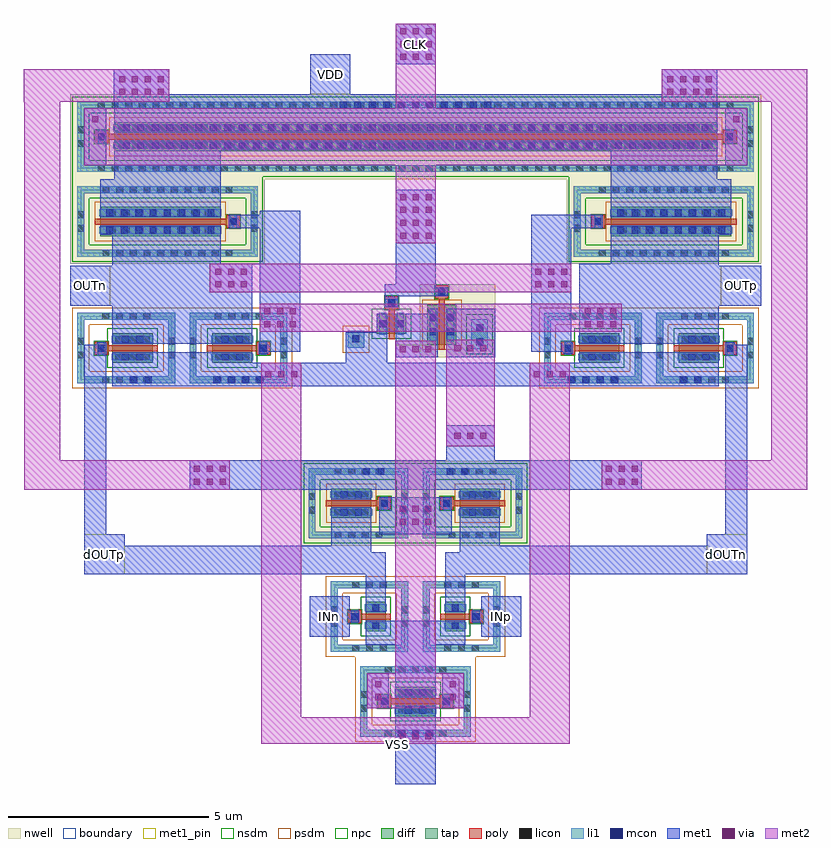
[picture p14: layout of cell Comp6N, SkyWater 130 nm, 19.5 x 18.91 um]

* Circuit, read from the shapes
.subckt Comp6N CLK INn INp OUTn OUTp VDD VSS dOUTn dOUTp
XM1 OUTn dOUTp VSS VSS sky130_fd_pr__nfet_01v8 w=1 l=0.15
XM2 OUTn OUTp VSS VSS sky130_fd_pr__nfet_01v8 w=1 l=0.15
XM3 dOUTp INn n1 VSS sky130_fd_pr__nfet_01v8 w=0.5 l=0.15
XM4 Inv2-1_5/Out CLK VSS VSS sky130_fd_pr__nfet_01v8 w=0.5 l=0.15
XM5 n1 Inv2-1_5/Out VSS VSS sky130_fd_pr__nfet_01v8 w=1 l=0.15
XM6 dOUTn INp n1 VSS sky130_fd_pr__nfet_01v8 w=0.5 l=0.15
XM7 OUTp OUTn VSS VSS sky130_fd_pr__nfet_01v8 w=1 l=0.15
XM8 OUTp dOUTn VSS VSS sky130_fd_pr__nfet_01v8 w=1 l=0.15
XM9 n2 OUTp OUTn VDD sky130_fd_pr__pfet_01v8 w=3 l=0.15
XM10 VDD CLK n2 VDD sky130_fd_pr__pfet_01v8 w=15 l=0.15
XM11 VDD Inv2-1_5/Out dOUTp VDD sky130_fd_pr__pfet_01v8 w=1 l=0.15
XM12 VDD CLK Inv2-1_5/Out VDD sky130_fd_pr__pfet_01v8 w=1 l=0.15
XM13 VDD Inv2-1_5/Out dOUTn VDD sky130_fd_pr__pfet_01v8 w=1 l=0.15
XM14 n2 OUTn OUTp VDD sky130_fd_pr__pfet_01v8 w=3 l=0.15
.ends

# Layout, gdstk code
from math import pi, radians
import gdstk
lib = gdstk.Library(unit=1e-6, precision=1e-09)
def R(c, l, rs):  # rectangles x0, y0, x1, y1
    for r in rs: c.add(gdstk.rectangle(r[:2], r[2:], *l))
def A(c, l, x, y, w, h, nx, ny, dx, dy):  # array of equal rectangles
    R(c, l, [(x+i*dx, y+j*dy, x+i*dx+w, y+j*dy+h) for i in range(nx) for j in range(ny)])
nwell = (64, 20)
diff = (65, 20)
tap = (65, 44)
poly = (66, 20)
licon = (66, 44)
li1 = (67, 20)
mcon = (67, 44)
met1_pin = (68, 16)
met1 = (68, 20)
via = (68, 44)
met2 = (69, 20)
nsdm = (93, 44)
psdm = (94, 20)
npc = (95, 20)
boundary = (235, 4)

sky130_fd_pr__nfet_01v8_ = lib.new_cell('sky130_fd_pr__nfet_01v8_SYFC5S')
R(sky130_fd_pr__nfet_01v8_, diff, [(-0.365,-0.405,0.365,0.095)])
R(sky130_fd_pr__nfet_01v8_, tap, [(-0.875,-0.965,0.875,-0.795), (-0.875,-0.795,-0.705,0.795), (0.705,-0.795,0.875,0.795), (-0.875,0.795,0.875,0.965)])
R(sky130_fd_pr__nfet_01v8_, poly, [(-0.075,-0.535,0.075,0.205), (-0.165,0.205,0.165,0.535)])
A(sky130_fd_pr__nfet_01v8_, licon, -0.875, -0.425, 0.17, 0.17, 1, 3, 0, 0.34)
A(sky130_fd_pr__nfet_01v8_, licon, 0.705, -0.425, 0.17, 0.17, 1, 3, 0, 0.34)
R(sky130_fd_pr__nfet_01v8_, licon, [(-0.255,-0.965,-0.085,-0.795), (0.085,-0.965,0.255,-0.795), (-0.305,-0.24,-0.135,-0.07), (0.135,-0.24,0.305,-0.07), (-0.085,0.285,0.085,0.455), (-0.255,0.795,-0.085,0.965), (0.085,0.795,0.255,0.965)])
R(sky130_fd_pr__nfet_01v8_, li1, [(-0.875,-0.965,0.875,-0.795), (-0.875,-0.795,-0.705,0.795), (0.705,-0.795,0.875,0.795), (-0.305,-0.425,-0.135,0.115), (0.135,-0.425,0.305,0.115), (-0.165,0.285,0.165,0.455), (-0.875,0.795,0.875,0.965)])
R(sky130_fd_pr__nfet_01v8_, mcon, [(-0.305,-0.24,-0.135,-0.07), (0.135,-0.24,0.305,-0.07), (-0.085,0.285,0.085,0.455)])
R(sky130_fd_pr__nfet_01v8_, met1, [(-0.335,-0.405,-0.105,0.095), (0.105,-0.405,0.335,0.095), (-0.145,0.255,0.145,0.485)])
R(sky130_fd_pr__nfet_01v8_, nsdm, [(-0.49,-0.53,0.49,0.22)])
R(sky130_fd_pr__nfet_01v8_, psdm, [(-1,-1.09,1,-0.67), (-1,-0.67,-0.58,0.67), (0.58,-0.67,1,0.67), (-1,0.67,1,1.09)])
R(sky130_fd_pr__nfet_01v8_, npc, [(-0.185,0.185,0.185,0.555)])
R(sky130_fd_pr__nfet_01v8_, boundary, [(-0.79,-0.88,0.79,0.88)])

c_sky130_fd_pr__nfet_01v8_ = lib.new_cell('sky130_fd_pr__nfet_01v8_TGNW9T')
R(c_sky130_fd_pr__nfet_01v8_, diff, [(-0.365,-0.5,0.365,0.5)])
R(c_sky130_fd_pr__nfet_01v8_, tap, [(-0.875,-1.37,0.875,-1.2), (-0.875,-1.2,-0.705,1.2), (0.705,-1.2,0.875,1.2), (-0.875,1.2,0.875,1.37)])
R(c_sky130_fd_pr__nfet_01v8_, poly, [(-0.165,-0.94,0.165,-0.61), (-0.075,-0.61,0.075,0.61), (-0.165,0.61,0.165,0.94)])
A(c_sky130_fd_pr__nfet_01v8_, licon, -0.875, -0.765, 0.17, 0.17, 1, 5, 0, 0.34)
A(c_sky130_fd_pr__nfet_01v8_, licon, 0.705, -0.765, 0.17, 0.17, 1, 5, 0, 0.34)
A(c_sky130_fd_pr__nfet_01v8_, licon, -0.305, -0.425, 0.17, 0.17, 1, 3, 0, 0.34)
A(c_sky130_fd_pr__nfet_01v8_, licon, 0.135, -0.425, 0.17, 0.17, 1, 3, 0, 0.34)
R(c_sky130_fd_pr__nfet_01v8_, licon, [(-0.255,-1.37,-0.085,-1.2), (0.085,-1.37,0.255,-1.2), (-0.085,-0.86,0.085,-0.69), (-0.085,0.69,0.085,0.86), (-0.255,1.2,-0.085,1.37), (0.085,1.2,0.255,1.37)])
R(c_sky130_fd_pr__nfet_01v8_, li1, [(-0.875,-1.37,0.875,-1.2), (-0.875,-1.2,-0.705,1.2), (0.705,-1.2,0.875,1.2), (-0.165,-0.86,0.165,-0.69), (-0.305,-0.52,-0.135,0.52), (0.135,-0.52,0.305,0.52), (-0.165,0.69,0.165,0.86), (-0.875,1.2,0.875,1.37)])
R(c_sky130_fd_pr__nfet_01v8_, mcon, [(-0.085,-0.86,0.085,-0.69), (-0.305,-0.265,-0.135,-0.095), (0.135,-0.265,0.305,-0.095), (-0.305,0.095,-0.135,0.265), (0.135,0.095,0.305,0.265), (-0.085,0.69,0.085,0.86)])
R(c_sky130_fd_pr__nfet_01v8_, met1, [(-0.145,-0.89,0.145,-0.66), (-0.335,-0.5,-0.105,0.5), (0.105,-0.5,0.335,0.5), (-0.145,0.66,0.145,0.89)])
R(c_sky130_fd_pr__nfet_01v8_, nsdm, [(-0.49,-0.625,0.49,0.625)])
R(c_sky130_fd_pr__nfet_01v8_, psdm, [(-1,-1.495,1,-1.075), (-1,-1.075,-0.58,1.075), (0.58,-1.075,1,1.075), (-1,1.075,1,1.495)])
R(c_sky130_fd_pr__nfet_01v8_, npc, [(-0.185,-0.96,0.185,-0.59), (-0.185,0.59,0.185,0.96)])
R(c_sky130_fd_pr__nfet_01v8_, boundary, [(-0.79,-1.285,0.79,1.285)])

sky130_fd_pr__pfet_01v8_ = lib.new_cell('sky130_fd_pr__pfet_01v8_KUW9CL')
R(sky130_fd_pr__pfet_01v8_, nwell, [(-1.055,-1.42,1.055,1.42)])
R(sky130_fd_pr__pfet_01v8_, diff, [(-0.365,-0.68,0.365,0.32)])
R(sky130_fd_pr__pfet_01v8_, tap, [(-0.875,-1.24,0.875,-1.07), (-0.875,-1.07,-0.705,1.07), (0.705,-1.07,0.875,1.07), (-0.875,1.07,0.875,1.24)])
R(sky130_fd_pr__pfet_01v8_, poly, [(-0.075,-0.81,0.075,0.475), (-0.165,0.475,0.165,0.805)])
A(sky130_fd_pr__pfet_01v8_, licon, -0.305, -0.605, 0.17, 0.17, 1, 3, 0, 0.34)
A(sky130_fd_pr__pfet_01v8_, licon, 0.135, -0.605, 0.17, 0.17, 1, 3, 0, 0.34)
A(sky130_fd_pr__pfet_01v8_, licon, -0.875, -0.595, 0.17, 0.17, 1, 4, 0, 0.34)
A(sky130_fd_pr__pfet_01v8_, licon, 0.705, -0.595, 0.17, 0.17, 1, 4, 0, 0.34)
R(sky130_fd_pr__pfet_01v8_, licon, [(-0.255,-1.24,-0.085,-1.07), (0.085,-1.24,0.255,-1.07), (-0.085,0.555,0.085,0.725), (-0.255,1.07,-0.085,1.24), (0.085,1.07,0.255,1.24)])
R(sky130_fd_pr__pfet_01v8_, li1, [(-0.875,-1.24,0.875,-1.07), (-0.875,-1.07,-0.705,1.07), (0.705,-1.07,0.875,1.07), (-0.305,-0.7,-0.135,0.34), (0.135,-0.7,0.305,0.34), (-0.165,0.555,0.165,0.725), (-0.875,1.07,0.875,1.24)])
R(sky130_fd_pr__pfet_01v8_, mcon, [(-0.305,-0.445,-0.135,-0.275), (0.135,-0.445,0.305,-0.275), (-0.305,-0.085,-0.135,0.085), (0.135,-0.085,0.305,0.085), (-0.085,0.555,0.085,0.725)])
R(sky130_fd_pr__pfet_01v8_, met1, [(-0.335,-0.68,-0.105,0.32), (0.105,-0.68,0.335,0.32), (-0.145,0.525,0.145,0.755)])
R(sky130_fd_pr__pfet_01v8_, nsdm, [(-1,-1.365,1,-0.945), (-1,-0.945,-0.58,0.945), (0.58,-0.945,1,0.945), (-1,0.945,1,1.365)])
R(sky130_fd_pr__pfet_01v8_, psdm, [(-0.49,-0.805,0.49,0.445)])
R(sky130_fd_pr__pfet_01v8_, npc, [(-0.185,0.455,0.185,0.825)])
R(sky130_fd_pr__pfet_01v8_, boundary, [(-0.79,-1.155,0.79,1.155)])

c_sky130_fd_pr__pfet_01v8_ = lib.new_cell('sky130_fd_pr__pfet_01v8_F97YLM')
R(c_sky130_fd_pr__pfet_01v8_, nwell, [(-0.545,-0.99,0.545,0.82)])
R(c_sky130_fd_pr__pfet_01v8_, diff, [(-0.365,-0.68,0.365,0.32)])
R(c_sky130_fd_pr__pfet_01v8_, poly, [(-0.075,-0.81,0.075,0.475), (-0.165,0.475,0.165,0.805)])
R(c_sky130_fd_pr__pfet_01v8_, licon, [(-0.305,-0.435,-0.135,-0.265), (0.135,-0.435,0.305,-0.265), (-0.305,-0.095,-0.135,0.075), (0.135,-0.095,0.305,0.075), (-0.085,0.555,0.085,0.725)])
R(c_sky130_fd_pr__pfet_01v8_, li1, [(-0.305,-0.59,-0.135,0.23), (0.135,-0.59,0.305,0.23), (-0.165,0.555,0.165,0.725)])
R(c_sky130_fd_pr__pfet_01v8_, mcon, [(-0.305,-0.445,-0.135,-0.275), (0.135,-0.445,0.305,-0.275), (-0.305,-0.085,-0.135,0.085), (0.135,-0.085,0.305,0.085), (-0.085,0.555,0.085,0.725)])
R(c_sky130_fd_pr__pfet_01v8_, met1, [(-0.335,-0.57,-0.105,0.21), (0.105,-0.57,0.335,0.21), (-0.145,0.525,0.145,0.755)])
R(c_sky130_fd_pr__pfet_01v8_, psdm, [(-0.49,-0.805,0.49,0.445)])
R(c_sky130_fd_pr__pfet_01v8_, npc, [(-0.185,0.455,0.185,0.825)])

c_sky130_fd_pr__nfet_01v8__ = lib.new_cell('sky130_fd_pr__nfet_01v8_8DMXDH')
R(c_sky130_fd_pr__nfet_01v8__, diff, [(-0.365,-0.405,0.365,0.095)])
R(c_sky130_fd_pr__nfet_01v8__, poly, [(-0.075,-0.535,0.075,0.205), (-0.165,0.205,0.165,0.535)])
R(c_sky130_fd_pr__nfet_01v8__, licon, [(-0.305,-0.24,-0.135,-0.07), (0.135,-0.24,0.305,-0.07), (-0.085,0.285,0.085,0.455)])
R(c_sky130_fd_pr__nfet_01v8__, li1, [(-0.305,-0.425,-0.135,0.115), (0.135,-0.425,0.305,0.115), (-0.165,0.285,0.165,0.455)])
R(c_sky130_fd_pr__nfet_01v8__, mcon, [(-0.305,-0.24,-0.135,-0.07), (0.135,-0.24,0.305,-0.07), (-0.085,0.285,0.085,0.455)])
R(c_sky130_fd_pr__nfet_01v8__, met1, [(-0.335,-0.405,-0.105,0.095), (0.105,-0.405,0.335,0.095), (-0.145,0.255,0.145,0.485)])
R(c_sky130_fd_pr__nfet_01v8__, nsdm, [(-0.49,-0.53,0.49,0.22)])
R(c_sky130_fd_pr__nfet_01v8__, npc, [(-0.185,0.185,0.185,0.555)])

inv2_1 = lib.new_cell('Inv2-1')
R(inv2_1, met1_pin, [(2.73,-3.84,3.04,-2.84)])
R(inv2_1, met1, [(1.96,-4.31,2.96,-4.05), (1.23,-4.11,1.8,-3.78), (1.96,-3.84,3.04,-2.95), (1.23,-3.78,1.52,-2.84), (2.06,-2.95,3.04,-2.8), (1.84,-2.59,2.84,-2.15)])
inv2_1.add(gdstk.Reference(c_sky130_fd_pr__pfet_01v8_, (2.05,-2.695), rotation=pi/2))
inv2_1.add(gdstk.Reference(c_sky130_fd_pr__nfet_01v8__, (2.055,-3.945), rotation=pi/2))
inv2_1.add(gdstk.Label('Out', (2.885,-3.34), layer=68, texttype=5))

c_sky130_fd_pr__nfet_01v8___ = lib.new_cell('sky130_fd_pr__nfet_01v8_D5KUY4')
R(c_sky130_fd_pr__nfet_01v8___, diff, [(-0.365,-0.655,0.365,0.345)])
R(c_sky130_fd_pr__nfet_01v8___, tap, [(-0.875,-1.215,0.875,-1.045), (-0.875,-1.045,-0.705,1.045), (0.705,-1.045,0.875,1.045), (-0.875,1.045,0.875,1.215)])
R(c_sky130_fd_pr__nfet_01v8___, poly, [(-0.075,-0.785,0.075,0.455), (-0.165,0.455,0.165,0.785)])
A(c_sky130_fd_pr__nfet_01v8___, licon, -0.875, -0.595, 0.17, 0.17, 1, 4, 0, 0.34)
A(c_sky130_fd_pr__nfet_01v8___, licon, 0.705, -0.595, 0.17, 0.17, 1, 4, 0, 0.34)
A(c_sky130_fd_pr__nfet_01v8___, licon, -0.305, -0.58, 0.17, 0.17, 1, 3, 0, 0.34)
A(c_sky130_fd_pr__nfet_01v8___, licon, 0.135, -0.58, 0.17, 0.17, 1, 3, 0, 0.34)
R(c_sky130_fd_pr__nfet_01v8___, licon, [(-0.255,-1.215,-0.085,-1.045), (0.085,-1.215,0.255,-1.045), (-0.085,0.535,0.085,0.705), (-0.255,1.045,-0.085,1.215), (0.085,1.045,0.255,1.215)])
R(c_sky130_fd_pr__nfet_01v8___, li1, [(-0.875,-1.215,0.875,-1.045), (-0.875,-1.045,-0.705,1.045), (0.705,-1.045,0.875,1.045), (-0.305,-0.675,-0.135,0.365), (0.135,-0.675,0.305,0.365), (-0.165,0.535,0.165,0.705), (-0.875,1.045,0.875,1.215)])
R(c_sky130_fd_pr__nfet_01v8___, mcon, [(-0.305,-0.42,-0.135,-0.25), (0.135,-0.42,0.305,-0.25), (-0.305,-0.06,-0.135,0.11), (0.135,-0.06,0.305,0.11), (-0.085,0.535,0.085,0.705)])
R(c_sky130_fd_pr__nfet_01v8___, met1, [(-0.335,-0.655,-0.105,0.345), (0.105,-0.655,0.335,0.345), (-0.145,0.505,0.145,0.735)])
R(c_sky130_fd_pr__nfet_01v8___, nsdm, [(-0.49,-0.78,0.49,0.47)])
R(c_sky130_fd_pr__nfet_01v8___, psdm, [(-1,-1.34,1,-0.92), (-1,-0.92,-0.58,0.92), (0.58,-0.92,1,0.92), (-1,0.92,1,1.34)])
R(c_sky130_fd_pr__nfet_01v8___, npc, [(-0.185,0.435,0.185,0.805)])
R(c_sky130_fd_pr__nfet_01v8___, boundary, [(-0.79,-1.13,0.79,1.13)])

c_sky130_fd_pr__pfet_01v8__ = lib.new_cell('sky130_fd_pr__pfet_01v8_KCE4QQ')
R(c_sky130_fd_pr__pfet_01v8__, nwell, [(-1.055,-2.42,1.055,2.42)])
R(c_sky130_fd_pr__pfet_01v8__, diff, [(-0.365,-1.68,0.365,1.32)])
R(c_sky130_fd_pr__pfet_01v8__, tap, [(-0.875,-2.24,0.875,-2.07), (-0.875,-2.07,-0.705,2.07), (0.705,-2.07,0.875,2.07), (-0.875,2.07,0.875,2.24)])
R(c_sky130_fd_pr__pfet_01v8__, poly, [(-0.075,-1.81,0.075,1.475), (-0.165,1.475,0.165,1.805)])
A(c_sky130_fd_pr__pfet_01v8__, licon, -0.875, -1.615, 0.17, 0.17, 1, 10, 0, 0.34)
A(c_sky130_fd_pr__pfet_01v8__, licon, 0.705, -1.615, 0.17, 0.17, 1, 10, 0, 0.34)
A(c_sky130_fd_pr__pfet_01v8__, licon, -0.305, -1.455, 0.17, 0.17, 1, 8, 0, 0.34)
A(c_sky130_fd_pr__pfet_01v8__, licon, 0.135, -1.455, 0.17, 0.17, 1, 8, 0, 0.34)
R(c_sky130_fd_pr__pfet_01v8__, licon, [(-0.255,-2.24,-0.085,-2.07), (0.085,-2.24,0.255,-2.07), (-0.085,1.555,0.085,1.725), (-0.255,2.07,-0.085,2.24), (0.085,2.07,0.255,2.24)])
R(c_sky130_fd_pr__pfet_01v8__, li1, [(-0.875,-2.24,0.875,-2.07), (-0.875,-2.07,-0.705,2.07), (0.705,-2.07,0.875,2.07), (-0.305,-1.7,-0.135,1.34), (0.135,-1.7,0.305,1.34), (-0.165,1.555,0.165,1.725), (-0.875,2.07,0.875,2.24)])
A(c_sky130_fd_pr__pfet_01v8__, mcon, -0.305, -1.525, 0.17, 0.17, 1, 8, 0, 0.36)
A(c_sky130_fd_pr__pfet_01v8__, mcon, 0.135, -1.525, 0.17, 0.17, 1, 8, 0, 0.36)
R(c_sky130_fd_pr__pfet_01v8__, mcon, [(-0.085,1.555,0.085,1.725)])
R(c_sky130_fd_pr__pfet_01v8__, met1, [(-0.335,-1.68,-0.105,1.32), (0.105,-1.68,0.335,1.32), (-0.145,1.525,0.145,1.755)])
R(c_sky130_fd_pr__pfet_01v8__, nsdm, [(-1,-2.365,1,-1.945), (-1,-1.945,-0.58,1.945), (0.58,-1.945,1,1.945), (-1,1.945,1,2.365)])
R(c_sky130_fd_pr__pfet_01v8__, psdm, [(-0.49,-1.805,0.49,1.445)])
R(c_sky130_fd_pr__pfet_01v8__, npc, [(-0.185,1.455,0.185,1.825)])
R(c_sky130_fd_pr__pfet_01v8__, boundary, [(-0.79,-2.155,0.79,2.155)])

c_sky130_fd_pr__pfet_01v8___ = lib.new_cell('sky130_fd_pr__pfet_01v8_NM6MTA')
R(c_sky130_fd_pr__pfet_01v8___, nwell, [(-1.055,-8.595,1.055,8.595)])
R(c_sky130_fd_pr__pfet_01v8___, diff, [(-0.365,-7.5,0.365,7.5)])
R(c_sky130_fd_pr__pfet_01v8___, tap, [(-0.875,-8.415,0.875,-8.245), (-0.875,-8.245,-0.705,8.245), (0.705,-8.245,0.875,8.245), (-0.875,8.245,0.875,8.415)])
R(c_sky130_fd_pr__pfet_01v8___, poly, [(-0.165,-7.985,0.165,-7.655), (-0.075,-7.655,0.075,7.655), (-0.165,7.655,0.165,7.985)])
A(c_sky130_fd_pr__pfet_01v8___, licon, -0.875, -7.905, 0.17, 0.17, 3, 2, 0.79, 15.64)
A(c_sky130_fd_pr__pfet_01v8___, licon, -0.875, -7.565, 0.17, 0.17, 1, 45, 0, 0.34)
A(c_sky130_fd_pr__pfet_01v8___, licon, 0.705, -7.565, 0.17, 0.17, 1, 45, 0, 0.34)
A(c_sky130_fd_pr__pfet_01v8___, licon, -0.305, -7.395, 0.17, 0.17, 1, 44, 0, 0.34)
A(c_sky130_fd_pr__pfet_01v8___, licon, 0.135, -7.395, 0.17, 0.17, 1, 44, 0, 0.34)
R(c_sky130_fd_pr__pfet_01v8___, licon, [(-0.255,-8.415,-0.085,-8.245), (0.085,-8.415,0.255,-8.245), (-0.255,8.245,-0.085,8.415), (0.085,8.245,0.255,8.415)])
R(c_sky130_fd_pr__pfet_01v8___, li1, [(-0.875,-8.415,0.875,-8.245), (-0.875,-8.245,-0.705,8.245), (0.705,-8.245,0.875,8.245), (-0.165,-7.905,0.165,-7.735), (-0.305,-7.52,-0.135,7.52), (0.135,-7.52,0.305,7.52), (-0.165,7.735,0.165,7.905), (-0.875,8.245,0.875,8.415)])
A(c_sky130_fd_pr__pfet_01v8___, mcon, -0.305, -7.285, 0.17, 0.17, 1, 41, 0, 0.36)
A(c_sky130_fd_pr__pfet_01v8___, mcon, 0.135, -7.285, 0.17, 0.17, 1, 41, 0, 0.36)
R(c_sky130_fd_pr__pfet_01v8___, mcon, [(-0.085,-7.905,0.085,-7.735), (-0.085,7.735,0.085,7.905)])
R(c_sky130_fd_pr__pfet_01v8___, met1, [(-0.145,-7.935,0.145,-7.705), (-0.335,-7.5,-0.105,7.5), (0.105,-7.5,0.335,7.5), (-0.145,7.705,0.145,7.935)])
R(c_sky130_fd_pr__pfet_01v8___, nsdm, [(-1,-8.54,1,-8.12), (-1,-8.12,-0.58,8.12), (0.58,-8.12,1,8.12), (-1,8.12,1,8.54)])
R(c_sky130_fd_pr__pfet_01v8___, psdm, [(-0.49,-7.625,0.49,7.625)])
R(c_sky130_fd_pr__pfet_01v8___, npc, [(-0.185,-8.005,0.185,-7.635), (-0.185,7.635,0.185,8.005)])
R(c_sky130_fd_pr__pfet_01v8___, boundary, [(-0.79,-8.33,0.79,8.33)])

comp6n = lib.new_cell('Comp6N')
R(comp6n, nwell, [(13.74,-5.16,14.97,-3.35)])
R(comp6n, tap, [(14.37,-4.96,14.78,-4.22), (11.3,-4.92,11.7,-4.5)])
R(comp6n, licon, [(14.49,-4.855,14.66,-4.685), (11.41,-4.79,11.58,-4.62), (14.49,-4.515,14.66,-4.345)])
R(comp6n, li1, [(12.51,-14.6,13.45,-14.43), (11.56,-8.09,12.32,-7.92), (13.64,-8.09,14.4,-7.92), (5.78,-5.81,6.52,-5.64), (7.84,-5.81,9.31,-5.64), (16.66,-5.81,18.13,-5.64), (19.45,-5.81,20.19,-5.64), (14.37,-4.96,14.78,-4.22), (11.3,-4.92,11.7,-4.5), (10.98,1.03,14.98,1.2)])
A(comp6n, mcon, 12.535, -14.6, 0.17, 0.17, 3, 1, 0.36, 0)
A(comp6n, mcon, 7.95, -5.81, 0.17, 0.17, 4, 1, 0.36, 0)
A(comp6n, mcon, 16.77, -5.81, 0.17, 0.17, 4, 1, 0.36, 0)
A(comp6n, mcon, 11.095, 1.03, 0.17, 0.17, 11, 1, 0.36, 0)
R(comp6n, mcon, [(11.675,-8.09,11.845,-7.92), (12.035,-8.09,12.205,-7.92), (13.755,-8.09,13.925,-7.92), (14.115,-8.09,14.285,-7.92), (5.885,-5.81,6.055,-5.64), (6.245,-5.81,6.415,-5.64), (19.555,-5.81,19.725,-5.64), (19.915,-5.81,20.085,-5.64), (14.49,-4.865,14.66,-4.695), (11.41,-4.79,11.58,-4.62), (14.49,-4.505,14.66,-4.335)])
R(comp6n, met1_pin, [(12.51,-14.81,12.54,-14.78), (10.35,-12.11,11.35,-11.11), (14.61,-12.11,15.61,-11.11), (4.74,-10.56,5.74,-9.56), (20.23,-10.56,21.23,-9.56), (4.39,-3.88,5.39,-2.88), (20.58,-3.88,21.58,-2.88), (10.36,1.38,11.36,2.38), (12.49,2.13,13.49,3.13)])
R(comp6n, met1, [(12.48,-15.78,13.48,-13.83), (11.78,-13.89,12.32,-13.02), (13.64,-13.89,14.18,-13.02), (12.48,-13.62,13.48,-12.32), (11.74,-12.32,14.22,-11.72), (10.35,-12.11,11.35,-11.11), (14.61,-12.11,15.61,-11.11), (11.74,-11.51,12.24,-10.56), (13.72,-11.51,14.22,-10.56), (4.74,-10.56,12.24,-10.01), (13.72,-10.56,21.23,-10.01), (4.74,-10.01,11.88,-9.85), (14.08,-10.01,21.23,-9.85), (4.74,-9.85,5.74,-9.56), (10.88,-9.85,11.88,-8.9), (14.08,-9.85,15.08,-8.9), (20.23,-9.85,21.23,-9.56), (4.74,-9.56,5.28,-4.85), (12.08,-9.56,13.88,-8.65), (20.69,-9.56,21.23,-4.85), (7.36,-8.46,18.61,-7.73), (13.74,-7.73,14.95,-6.85), (5.44,-5.88,20.53,-5.3), (5.44,-5.3,8.92,-5.04), (11.24,-5.3,12.28,-4.89), (17.05,-5.3,20.53,-5.04), (13.74,-5.16,14.97,-4.73), (12.52,-5.12,13.44,-4.81), (9.11,-5.02,10.11,-1.95), (15.86,-5.02,16.86,-1.95), (11.24,-4.89,12.2,-4.54), (5.44,-4.83,8.92,-3.88), (17.05,-4.83,20.53,-3.88), (14.06,-4.73,14.97,-3.96), (4.39,-3.88,8.92,-2.88), (17.05,-3.88,21.58,-2.88), (12.49,-3.38,12.68,-3.35), (12.49,-3.35,13.49,-0.99), (5.44,-2.88,8.92,-2.84), (17.05,-2.88,20.53,-2.84), (5.44,-2.84,8.13,-1.89), (17.84,-2.84,20.53,-1.89), (8.33,-1.95,10.11,-1.62), (15.86,-1.95,17.64,-1.62), (5.13,-1.68,8.13,-0.73), (17.84,-1.68,20.84,-0.73), (9.11,-1.62,10.11,-1.52), (5.48,-0.73,8.13,0.22), (17.84,-0.73,20.49,0.22), (4.74,-0.38,5.28,1.03), (20.69,-0.38,21.23,1.03), (5.48,0.43,20.49,1.2), (5.47,1.2,20.49,1.38), (5.47,1.38,6.85,2), (10.36,1.38,11.36,2.38), (19.11,1.38,20.49,2), (12.49,2.13,13.49,3.13)])
A(comp6n, via, 12.585, -14.665, 0.15, 0.15, 3, 2, 0.32, 5.335)
A(comp6n, via, 12.585, -9.01, 0.15, 0.15, 3, 2, 0.32, 3.97)
A(comp6n, via, 7.465, -8.33, 0.15, 0.15, 3, 2, 0.32, 0.32)
A(comp6n, via, 17.715, -8.33, 0.15, 0.15, 3, 2, 0.32, 0.32)
A(comp6n, via, 13.95, -7.19, 0.15, 0.15, 3, 2, 0.32, 2.175)
A(comp6n, via, 9.245, -5.665, 0.15, 0.15, 3, 1, 0.32, 0)
A(comp6n, via, 15.925, -5.665, 0.15, 0.15, 3, 1, 0.32, 0)
A(comp6n, via, 9.215, -4.415, 0.15, 0.15, 3, 2, 0.32, 0.32)
A(comp6n, via, 17.185, -4.415, 0.15, 0.15, 3, 2, 0.32, 0.32)
A(comp6n, via, 7.995, -3.425, 0.15, 0.15, 3, 2, 0.32, 0.32)
A(comp6n, via, 15.965, -3.425, 0.15, 0.15, 3, 2, 0.32, 0.32)
A(comp6n, via, 12.595, -2.21, 0.15, 0.15, 3, 4, 0.32, 0.32)
A(comp6n, via, 5.605, 1.365, 0.15, 0.15, 4, 2, 0.32, 0.32)
A(comp6n, via, 19.245, 1.365, 0.15, 0.15, 4, 2, 0.32, 0.32)
A(comp6n, via, 12.595, 2.235, 0.15, 0.15, 3, 3, 0.32, 0.32)
R(comp6n, via, [(11.975,-13.69,12.125,-13.54), (13.835,-13.69,13.985,-13.54), (11.975,-13.37,12.125,-13.22), (13.835,-13.37,13.985,-13.22), (4.935,0.685,5.085,0.835), (20.885,0.685,21.035,0.835)])
R(comp6n, met2, [(9.14,-14.78,16.82,-14.12), (9.14,-14.12,10.14,-5.3), (15.82,-14.12,16.82,-5.3), (11.78,-13.89,14.18,-13.02), (12.48,-13.02,13.48,-8.65), (12.48,-8.65,13.49,-4.75), (3.24,-8.46,8.36,-7.73), (17.61,-8.46,22.73,-7.73), (3.24,-7.73,4.14,1.2), (21.83,-7.73,22.73,1.2), (13.74,-7.38,14.95,-4.73), (9.11,-4.53,18.11,-3.83), (7.86,-3.54,16.86,-2.84), (12.49,-2.32,13.49,-0.38), (4.74,-0.38,21.23,1.03), (12.49,1.03,13.49,3.13), (3.23,1.2,6.85,2), (19.11,1.2,22.73,2)])
R(comp6n, nsdm, [(12.925,-9.795,13.035,-7.795), (14.245,-5.085,14.905,-4.095), (4.445,-0.785,9.175,-0.675), (16.795,-0.785,21.525,-0.675)])
R(comp6n, psdm, [(11.485,-12.725,14.475,-12.615), (12.925,-12.615,13.035,-10.615), (7.125,-5.935,7.235,-3.935), (18.735,-5.935,18.845,-3.935), (11.175,-5.045,11.825,-4.375)])
comp6n.add(gdstk.Reference(sky130_fd_pr__nfet_01v8_, (11.835,-11.615), rotation=pi/2))
comp6n.add(gdstk.Reference(c_sky130_fd_pr__nfet_01v8_, (12.98,-13.725), rotation=3*pi/2))
comp6n.add(gdstk.Reference(sky130_fd_pr__nfet_01v8_, (14.125,-11.615), rotation=3*pi/2))
comp6n.add(gdstk.Reference(sky130_fd_pr__pfet_01v8_, (11.56,-8.795), rotation=3*pi/2))
comp6n.add(gdstk.Reference(sky130_fd_pr__pfet_01v8_, (14.4,-8.795), rotation=pi/2))
comp6n.add(gdstk.Reference(inv2_1, (16.33,-2.12), rotation=3*pi/2))
comp6n.add(gdstk.Reference(c_sky130_fd_pr__nfet_01v8___, (5.785,-4.935), rotation=pi/2))
comp6n.add(gdstk.Reference(c_sky130_fd_pr__nfet_01v8___, (8.575,-4.935), rotation=3*pi/2))
comp6n.add(gdstk.Reference(c_sky130_fd_pr__nfet_01v8___, (17.395,-4.935), rotation=pi/2))
comp6n.add(gdstk.Reference(c_sky130_fd_pr__nfet_01v8___, (20.185,-4.935), rotation=3*pi/2))
comp6n.add(gdstk.Reference(c_sky130_fd_pr__pfet_01v8__, (6.81,-1.785), rotation=3*pi/2))
comp6n.add(gdstk.Reference(c_sky130_fd_pr__pfet_01v8__, (19.16,-1.785), rotation=pi/2))
comp6n.add(gdstk.Reference(c_sky130_fd_pr__pfet_01v8___, (12.985,0.325), rotation=3*pi/2))
comp6n.add(gdstk.Label('VDD', (10.86,1.88), layer=68, texttype=5))
comp6n.add(gdstk.Label('OUTn', (4.89,-3.38), layer=68, texttype=5))
comp6n.add(gdstk.Label('OUTp', (21.08,-3.38), layer=68, texttype=5))
comp6n.add(gdstk.Label('CLK', (12.99,2.63), layer=68, texttype=5))
comp6n.add(gdstk.Label('INp', (15.11,-11.61), layer=68, texttype=5))
comp6n.add(gdstk.Label('INn', (10.85,-11.61), layer=68, texttype=5))
comp6n.add(gdstk.Label('VSS', (12.525,-14.795), layer=68, texttype=5))
comp6n.add(gdstk.Label('dOUTp', (5.24,-10.06), layer=68, texttype=5))
comp6n.add(gdstk.Label('dOUTn', (20.73,-10.06), layer=68, texttype=5))

lib.write_gds('Comp6N.gds')
